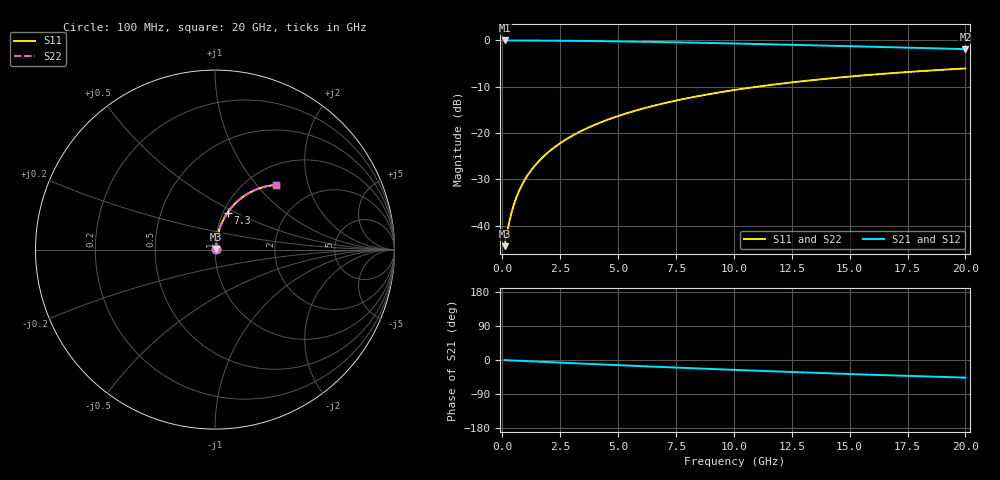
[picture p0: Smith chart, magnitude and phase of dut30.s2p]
! Touchstone file exported from HFSS 2024.1.0
!  File:  C:/UserFiles/LocalFiles/RDL_TSV_Batchsim/temp_RDL_top_30_1778680567.aedt
!  Generated:  09:58:17 PM May 13, 2026
!  Design:  RDL_top
!  Project:  temp_RDL_top_30_1778680567
!  Setup:  Setup1
!  Solution:  Sweep
! Variables:
!  dtsv = 10.80580581um
!  hbump = 3um
!  htsv = 79.12um
!  ldown = 100um
!  lrdl = 639.81um
!  p = 40
!  p1 = 43.84um
!  rhole = 1um
!  t = 450um
!  tdown = 3.915915916um
!  trdl = 3.96um
!  wdown = 15.38538539um
!  wrdl = 11.31um
# GHz S MA R 50.000000
! Terminal data exported
! Port[1] = Box2_T1
! Port[2] = Box2_T2
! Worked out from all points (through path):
!   200 points, 100 MHz to 20 GHz, reference 50 ohm
!   highest |S21| = -0.04 dB at 100 MHz (marker M1); lowest = -1.9 dB at 20 GHz (marker M2)
!   group delay of S21, straight-line fit = 6.47 ps
!   lowest |S11| = -44.4 dB at 100 MHz (marker M3), VSWR 1.01, Z = 50.5 + j0.324 ohm
!   |S11| at or under -10 dB: start of sweep to 11.04 GHz
!   |S22| runs from -44.4 to -6.1 dB; largest |S21 - S12| = 2.6e-15
!   S11 on the Smith chart (normalised r, x): 100 MHz: 1.01, +0.01; 7.3 GHz: 1.05, +0.46; 20 GHz: 1.34, +1.28
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0.1  0.006012 32.3  0.9949 -0.3  0.9949 -0.3  0.006012 32.3
! Gamma 0 0 0 0
! Port Impedance 50 0 50 0
0.2  0.008229 51.2  0.9948 -0.6  0.9948 -0.6  0.008232 51.2
0.3  0.01095 61.2  0.9947 -0.9  0.9947 -0.9  0.01096 61.1
0.4  0.01388 67.0  0.9945 -1.1  0.9945 -1.1  0.01388 66.8
0.5  0.01688 70.6  0.9944 -1.4  0.9944 -1.4  0.01687 70.4
0.6  0.01991 73.0  0.9942 -1.7  0.9942 -1.7  0.0199 72.8
0.8  0.02602 75.9  0.9938 -2.3  0.9938 -2.3  0.02598 75.7
1.1  0.03516 78.1  0.9932 -3.1  0.9932 -3.1  0.03511 78.0
1.5  0.04732 79.3  0.9922 -4.2  0.9922 -4.2  0.04727 79.3
1.8  0.05642 79.7  0.9912 -5.0  0.9912 -5.0  0.05637 79.6
2.1  0.06552 79.8  0.9902 -5.8  0.9902 -5.8  0.06548 79.7
2.7  0.08367 79.4  0.9876 -7.5  0.9876 -7.5  0.08364 79.4
3.5  0.1077 78.4  0.9833 -9.7  0.9833 -9.7  0.1077 78.4
4.2  0.1286 77.3  0.9789 -11.5  0.9789 -11.5  0.1286 77.3
5  0.1522 75.8  0.973 -13.7  0.973 -13.7  0.1523 75.8
6.8  0.204 72.2  0.9572 -18.3  0.9572 -18.3  0.2041 72.3
7.3  0.218 71.2  0.9523 -19.5  0.9523 -19.5  0.2181 71.2
8.6  0.2535 68.5  0.9388 -22.7  0.9388 -22.7  0.2536 68.5
10.1  0.2927 65.4  0.9221 -26.3  0.9221 -26.3  0.2928 65.4
13.4  0.3715 58.7  0.8826 -33.7  0.8826 -33.7  0.3717 58.7
16.7  0.4394 52.4  0.842 -40.4  0.842 -40.4  0.4397 52.4
20  0.4964 46.5  0.8023 -46.6  0.8023 -46.6  0.4967 46.6
